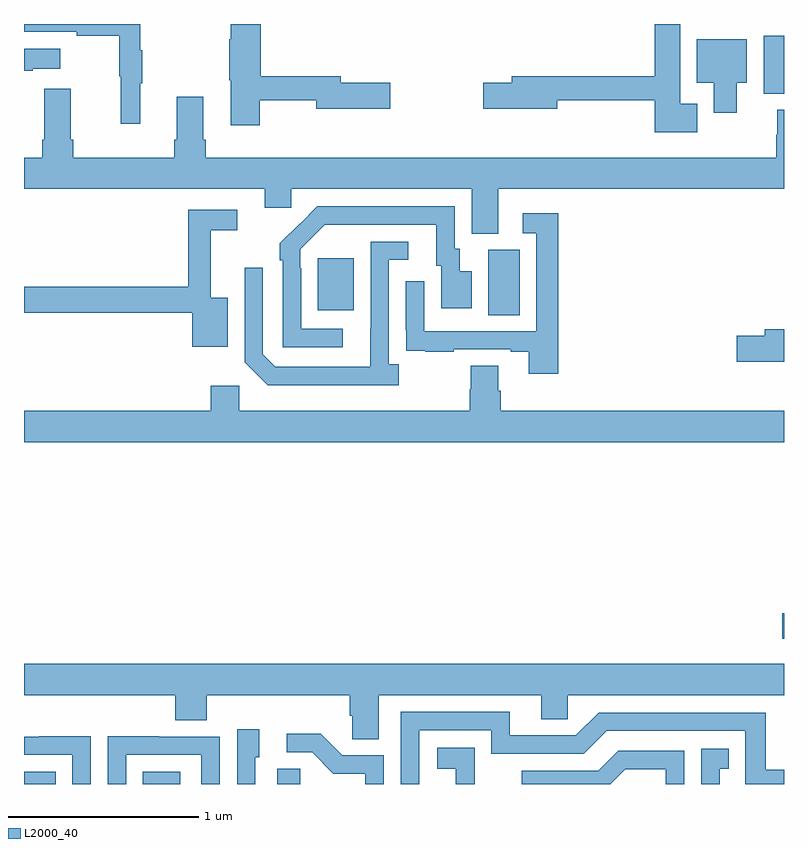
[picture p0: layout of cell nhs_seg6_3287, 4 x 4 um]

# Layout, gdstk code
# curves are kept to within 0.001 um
import gdstk
lib = gdstk.Library(unit=1e-6, precision=1e-09)
def R(c, l, rs):  # rectangles x0, y0, x1, y1
    for r in rs: c.add(gdstk.rectangle(r[:2], r[2:], *l))
def P(c, l, *ps):  # polygons
    for p in ps: c.add(gdstk.Polygon(p, *l))
L2000_40 = (2000, 40)

nhs_seg6_3287 = lib.new_cell('nhs_seg6_3287')
R(nhs_seg6_3287, L2000_40, [(303,981.5,303.166,981.565), (303.626,981.5,303.823,981.565), (304.334,981.5,304.455,981.581), (306.99,982.265,307,982.4), (305.444,983.968,305.608,984.312), (304.547,983.993,304.735,984.268), (306.893,985.133,307,985.438)])
P(nhs_seg6_3287, L2000_40, [(304.242,985.098),(304.538,985.098),(304.538,985.055),(304.927,985.055),(304.927,985.19),(304.666,985.19),(304.666,985.226),(304.247,985.226),(304.247,985.5),(304.088,985.5),(304.088,985.421),(304.081,985.421),(304.081,985.203),(304.088,985.203),(304.088,984.966),(304.242,984.966)],
  [(303.611,985.187),(303.622,985.187),(303.622,985.361),(303.611,985.361),(303.611,985.5),(303,985.5),(303,985.458),(303.277,985.458),(303.277,985.438),(303.501,985.438),(303.501,985.224),(303.508,985.224),(303.508,984.975),(303.611,984.975)],
  [(306.544,985.081),(306.454,985.081),(306.454,985.5),(306.32,985.5),(306.32,985.226),(305.567,985.226),(305.567,985.19),(305.418,985.19),(305.418,985.055),(305.806,985.055),(305.806,985.098),(306.32,985.098),(306.32,984.929),(306.544,984.929)],
  [(306.751,985.19),(306.805,985.19),(306.805,985.42),(306.542,985.42),(306.542,985.19),(306.629,985.19),(306.629,985.032),(306.751,985.032)],
  [(303.047,985.265),(303.19,985.265),(303.19,985.369),(303,985.369),(303,985.255),(303.047,985.255)],
  [(305.497,984.632),(307,984.632),(307,985.048),(306.965,985.048),(306.965,984.917),(306.958,984.917),(306.958,984.796),(303.956,984.796),(303.956,984.892),(303.943,984.892),(303.943,985.117),(303.803,985.117),(303.803,984.892),(303.791,984.892),(303.791,984.796),(303.26,984.796),(303.26,984.892),(303.247,984.892),(303.247,985.159),(303.107,985.159),(303.107,984.892),(303.095,984.892),(303.095,984.796),(303,984.796),(303,984.632),(304.268,984.632),(304.268,984.534),(304.407,984.534),(304.407,984.632),(305.357,984.632),(305.357,984.397),(305.497,984.397)],
  [(304.678,983.895),(304.458,983.895),(304.458,984.215),(304.455,984.215),(304.455,984.315),(304.584,984.444),(305.171,984.444),(305.171,984.228),(305.195,984.228),(305.195,984.003),(305.356,984.003),(305.356,984.199),(305.293,984.199),(305.293,984.318),(305.268,984.318),(305.268,984.54),(304.544,984.54),(304.347,984.345),(304.347,984.257),(304.362,984.257),(304.362,983.799),(304.678,983.799)],
  [(304.072,984.058),(303.983,984.058),(303.983,984.414),(304.123,984.414),(304.123,984.522),(303.865,984.522),(303.865,984.116),(303,984.116),(303,983.98),(303.885,983.98),(303.885,983.801),(304.072,983.801)],
  [(305.813,984.505),(305.625,984.505),(305.625,984.399),(305.697,984.399),(305.697,983.883),(305.106,983.883),(305.106,984.145),(305.01,984.145),(305.01,983.89),(305.011,983.89),(305.011,983.781),(305.113,983.781),(305.113,983.775),(305.261,983.775),(305.261,983.787),(305.561,983.787),(305.561,983.775),(305.657,983.775),(305.657,983.658),(305.813,983.658)],
  [(304.972,983.71),(304.92,983.71),(304.92,984.258),(305.023,984.258),(305.023,984.354),(304.824,984.354),(304.823,983.697),(304.323,983.697),(304.257,983.763),(304.257,984.217),(304.161,984.217),(304.161,983.721),(304.282,983.6),(304.972,983.6)],
  [(307,983.894),(306.899,983.894),(306.899,983.858),(306.75,983.858),(306.75,983.723),(307,983.723)],
  [(307,983.464),(305.51,983.464),(305.51,983.57),(305.497,983.57),(305.497,983.702),(305.35,983.702),(305.35,983.577),(305.345,983.577),(305.345,983.464),(304.134,983.464),(304.134,983.596),(303.983,983.596),(303.983,983.464),(303,983.464),(303,983.3),(307,983.3)],
  [(304.867,981.968),(305.723,981.968),(305.723,981.841),(305.862,981.841),(305.862,981.968),(307,981.968),(307,982.132),(303,982.132),(303,981.968),(303.797,981.968),(303.797,981.835),(303.962,981.835),(303.962,981.968),(304.715,981.968),(304.715,981.859),(304.728,981.859),(304.728,981.736),(304.867,981.736)],
  [(305.079,981.783),(305.46,981.783),(305.46,981.66),(305.946,981.66),(306.066,981.78),(306.795,981.78),(306.795,981.5),(307,981.5),(307,981.574),(306.904,981.574),(306.904,981.876),(306.024,981.876),(305.904,981.756),(305.557,981.756),(305.557,981.879),(304.983,981.879),(304.983,981.5),(305.079,981.5)],
  [(304.218,981.642),(304.237,981.642),(304.237,981.787),(304.122,981.787),(304.122,981.5),(304.218,981.5)],
  [(304.893,981.651),(304.674,981.651),(304.561,981.764),(304.383,981.764),(304.383,981.666),(304.517,981.666),(304.628,981.555),(304.797,981.555),(304.797,981.5),(304.893,981.5)],
  [(303.351,981.752),(303.079,981.752),(303.079,981.75),(303,981.75),(303,981.654),(303.255,981.654),(303.255,981.5),(303.351,981.5)],
  [(303.537,981.654),(303.933,981.654),(303.933,981.5),(304.029,981.5),(304.029,981.75),(303.713,981.75),(303.713,981.752),(303.441,981.752),(303.441,981.5),(303.537,981.5)],
  [(305.373,981.691),(305.175,981.691),(305.175,981.581),(305.273,981.581),(305.273,981.5),(305.373,981.5)],
  [(306.661,981.579),(306.71,981.579),(306.71,981.685),(306.564,981.685),(306.564,981.5),(306.661,981.5)],
  [(306.164,981.578),(306.378,981.578),(306.378,981.5),(306.474,981.5),(306.474,981.675),(306.128,981.675),(306.023,981.57),(305.62,981.57),(305.62,981.5),(306.086,981.5)])

lib.write_gds('nhs_seg6_3287.gds')
